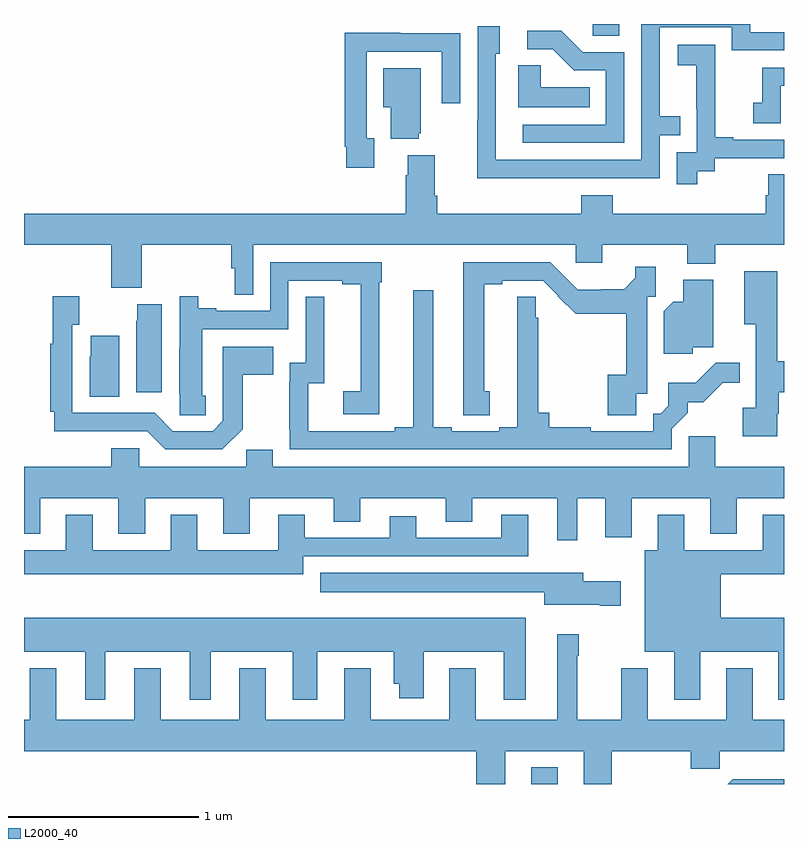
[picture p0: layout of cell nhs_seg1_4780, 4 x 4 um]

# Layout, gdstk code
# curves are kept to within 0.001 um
import gdstk
lib = gdstk.Library(unit=1e-6, precision=1e-09)
def R(c, l, rs):  # rectangles x0, y0, x1, y1
    for r in rs: c.add(gdstk.rectangle(r[:2], r[2:], *l))
def P(c, l, *ps):  # polygons
    for p in ps: c.add(gdstk.Polygon(p, *l))
L2000_40 = (2000, 40)

nhs_seg1_4780 = lib.new_cell('nhs_seg1_4780')
R(nhs_seg1_4780, L2000_40, [(371.669,578.199,371.809,578.287), (371.994,582.136,372.133,582.199)])
P(nhs_seg1_4780, L2000_40, [(371.849,581.388),(372.345,581.388),(372.345,581.613),(372.455,581.613),(372.455,581.714),(372.345,581.714),(372.345,582.183),(372.726,582.183),(372.726,582.06),(373,582.06),(373,582.156),(372.823,582.156),(372.823,582.199),(372.249,582.199),(372.249,581.484),(371.484,581.484),(371.484,582.042),(371.503,582.042),(371.503,582.187),(371.388,582.187),(371.388,581.693),(371.386,581.693),(371.386,581.387),(371.849,581.387)],
  [(372.159,582.051),(371.94,582.051),(371.827,582.164),(371.649,582.164),(371.649,582.066),(371.783,582.066),(371.894,581.955),(372.063,581.955),(372.063,581.67),(371.625,581.67),(371.625,581.574),(372.159,581.574)],
  [(370.843,581.598),(370.803,581.598),(370.803,582.054),(371.199,582.054),(371.199,581.781),(371.295,581.781),(371.295,582.15),(370.979,582.15),(370.979,582.152),(370.687,582.152),(370.687,581.554),(370.695,581.554),(370.695,581.442),(370.843,581.442)],
  [(372.544,581.425),(372.636,581.425),(372.636,581.493),(373,581.493),(373,581.589),(372.733,581.589),(372.733,581.602),(372.638,581.602),(372.638,581.885),(372.639,581.885),(372.639,582.091),(372.441,582.091),(372.441,581.981),(372.539,581.981),(372.539,581.753),(372.54,581.753),(372.54,581.523),(372.435,581.523),(372.435,581.355),(372.544,581.355)],
  [(371.978,581.866),(371.721,581.866),(371.721,581.981),(371.6,581.981),(371.6,581.762),(371.978,581.762)],
  [(372.984,581.874),(373,581.874),(373,581.97),(372.886,581.97),(372.886,581.785),(372.837,581.785),(372.837,581.676),(372.984,581.676)],
  [(371.078,581.625),(371.089,581.625),(371.089,581.965),(370.892,581.965),(370.892,581.762),(370.931,581.762),(370.931,581.594),(371.078,581.594)],
  [(370.206,581.036),(371.904,581.036),(371.904,580.943),(372.043,580.943),(372.043,581.036),(372.491,581.036),(372.491,580.937),(372.639,580.937),(372.639,581.036),(373,581.036),(373,581.408),(372.917,581.408),(372.917,581.298),(372.905,581.298),(372.905,581.2),(372.098,581.2),(372.098,581.299),(371.933,581.299),(371.933,581.2),(371.174,581.2),(371.174,581.296),(371.161,581.296),(371.161,581.509),(371.021,581.509),(371.021,581.402),(371.009,581.402),(371.009,581.2),(369,581.2),(369,581.036),(369.46,581.036),(369.46,580.81),(369.62,580.81),(369.62,581.036),(370.09,581.036),(370.09,580.913),(370.109,580.913),(370.109,580.774),(370.206,580.774)],
  [(369.957,580.242),(369.937,580.242),(369.937,580.593),(370.392,580.593),(370.392,580.848),(370.676,580.848),(370.676,580.828),(370.772,580.828),(370.772,580.267),(370.68,580.267),(370.68,580.145),(370.87,580.145),(370.87,580.841),(370.882,580.841),(370.882,580.944),(370.296,580.944),(370.296,580.689),(370.012,580.689),(370.012,580.702),(369.917,580.702),(369.917,580.765),(369.819,580.765),(369.819,580.496),(369.818,580.496),(369.818,580.252),(369.82,580.252),(369.82,580.141),(369.957,580.141)],
  [(371.452,580.265),(371.422,580.265),(371.422,580.828),(371.518,580.828),(371.518,580.848),(371.733,580.848),(371.811,580.77),(371.808,580.767),(371.903,580.673),(372.171,580.673),(372.171,580.354),(372.073,580.354),(372.073,580.141),(372.223,580.141),(372.223,580.253),(372.279,580.253),(372.279,580.764),(372.324,580.764),(372.324,580.921),(372.218,580.921),(372.218,580.864),(372.158,580.804),(372.039,580.804),(372.039,580.8),(371.914,580.8),(371.77,580.944),(371.312,580.944),(371.312,580.141),(371.452,580.141)],
  [(372.964,580.149),(372.972,580.149),(372.972,580.262),(373,580.262),(373,580.423),(372.964,580.423),(372.964,580.897),(372.791,580.897),(372.791,580.619),(372.851,580.619),(372.851,580.18),(372.783,580.18),(372.783,580.028),(372.964,580.028)],
  [(372.519,580.499),(372.628,580.499),(372.628,580.852),(372.47,580.852),(372.47,580.738),(372.418,580.738),(372.368,580.688),(372.368,580.463),(372.519,580.463)],
  [(372.408,580.068),(372.494,580.154),(372.494,580.208),(372.575,580.208),(372.678,580.311),(372.766,580.311),(372.766,580.416),(372.64,580.416),(372.535,580.311),(372.392,580.311),(372.392,580.19),(372.351,580.149),(372.312,580.149),(372.312,580.056),(371.984,580.056),(371.984,580.076),(371.764,580.076),(371.764,580.153),(371.707,580.153),(371.707,580.652),(371.693,580.652),(371.693,580.763),(371.597,580.763),(371.597,580.076),(371.501,580.076),(371.501,580.056),(371.251,580.056),(371.251,580.076),(371.155,580.076),(371.155,580.798),(371.048,580.798),(371.048,580.076),(370.952,580.076),(370.952,580.056),(370.496,580.056),(370.496,580.307),(370.58,580.307),(370.58,580.763),(370.482,580.763),(370.482,580.417),(370.398,580.417),(370.398,580.313),(370.396,580.313),(370.396,580.063),(370.398,580.063),(370.398,579.96),(372.408,579.96)],
  [(370.15,580.066),(370.15,580.354),(370.312,580.354),(370.312,580.501),(370.046,580.501),(370.047,580.11),(369.993,580.056),(369.783,580.056),(369.687,580.152),(369.255,580.152),(369.255,580.615),(369.292,580.615),(369.292,580.765),(369.152,580.765),(369.152,580.516),(369.139,580.516),(369.139,580.159),(369.158,580.159),(369.158,580.055),(369.648,580.056),(369.744,579.96),(370.044,579.96)],
  [(369.724,580.725),(369.595,580.725),(369.595,580.638),(369.59,580.638),(369.59,580.26),(369.724,580.26)],
  [(369.502,580.559),(369.351,580.559),(369.351,580.448),(369.347,580.448),(369.347,580.237),(369.502,580.237)],
  [(370.189,579.704),(370.631,579.704),(370.631,579.58),(370.771,579.58),(370.771,579.704),(371.219,579.704),(371.219,579.58),(371.359,579.58),(371.359,579.704),(371.807,579.704),(371.807,579.483),(371.911,579.483),(371.911,579.704),(372.059,579.704),(372.059,579.498),(372.199,579.498),(372.199,579.704),(372.611,579.704),(372.611,579.515),(372.751,579.515),(372.751,579.704),(373,579.704),(373,579.868),(372.637,579.868),(372.637,580.03),(372.498,580.03),(372.498,579.868),(370.309,579.868),(370.309,579.959),(370.171,579.959),(370.171,579.868),(369.606,579.868),(369.606,579.966),(369.46,579.966),(369.46,579.868),(369,579.868),(369,579.515),(369.085,579.515),(369.085,579.704),(369.497,579.704),(369.497,579.515),(369.637,579.515),(369.637,579.704),(370.049,579.704),(370.049,579.515),(370.189,579.515)],
  [(370.471,579.399),(371.653,579.399),(371.653,579.616),(371.513,579.616),(371.513,579.495),(371.065,579.495),(371.065,579.607),(370.925,579.607),(370.925,579.495),(370.477,579.495),(370.477,579.616),(370.337,579.616),(370.337,579.43),(369.913,579.43),(369.913,579.616),(369.773,579.616),(369.773,579.43),(369.361,579.43),(369.361,579.616),(369.221,579.616),(369.221,579.43),(369,579.43),(369,579.302),(370.471,579.302)],
  [(372.559,578.894),(372.971,578.894),(372.971,578.643),(373,578.643),(373,579.073),(372.667,579.073),(372.667,579.302),(373,579.302),(373,579.616),(372.887,579.616),(372.887,579.43),(372.475,579.43),(372.475,579.616),(372.335,579.616),(372.335,579.43),(372.266,579.43),(372.266,578.894),(372.422,578.894),(372.422,578.643),(372.559,578.643)],
  [(372.142,579.265),(371.944,579.265),(371.944,579.31),(370.56,579.31),(370.56,579.209),(371.738,579.209),(371.738,579.143),(372.029,579.143),(372.029,579.136),(372.142,579.136)],
  [(369.427,578.894),(369.872,578.894),(369.872,578.643),(369.982,578.643),(369.982,578.894),(370.415,578.894),(370.415,578.643),(370.543,578.643),(370.543,578.894),(370.946,578.894),(370.946,578.726),(370.976,578.726),(370.976,578.651),(371.104,578.651),(371.104,578.894),(371.525,578.894),(371.525,578.643),(371.641,578.643),(371.641,579.073),(369,579.073),(369,578.894),(369.323,578.894),(369.323,578.643),(369.427,578.643)],
  [(371.381,578.199),(371.533,578.199),(371.533,578.372),(371.945,578.372),(371.945,578.199),(372.093,578.199),(372.093,578.372),(372.508,578.372),(372.508,578.279),(372.662,578.279),(372.662,578.372),(373,578.372),(373,578.536),(372.835,578.536),(372.835,578.809),(372.695,578.809),(372.695,578.536),(372.283,578.536),(372.283,578.809),(372.143,578.809),(372.143,578.536),(371.911,578.536),(371.911,578.873),(371.921,578.873),(371.921,578.986),(371.807,578.986),(371.807,578.536),(371.377,578.536),(371.377,578.809),(371.237,578.809),(371.237,578.536),(370.825,578.536),(370.825,578.809),(370.685,578.809),(370.685,578.536),(370.273,578.536),(370.273,578.809),(370.133,578.809),(370.133,578.536),(369.721,578.536),(369.721,578.809),(369.581,578.809),(369.581,578.536),(369.169,578.536),(369.169,578.809),(369.029,578.809),(369.029,578.536),(369,578.536),(369,578.372),(371.381,578.372)],
  [(373,578.224),(372.73,578.224),(372.705,578.199),(373,578.199)])

lib.write_gds('nhs_seg1_4780.gds')
